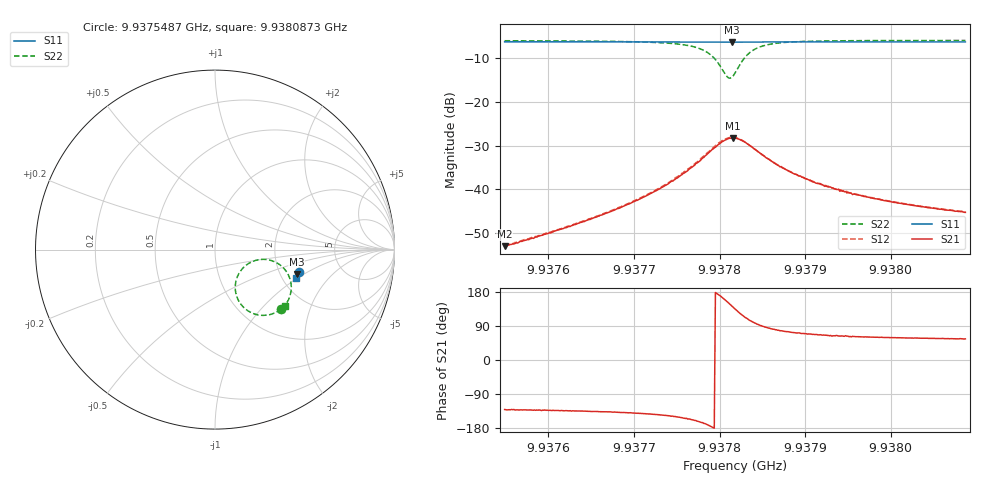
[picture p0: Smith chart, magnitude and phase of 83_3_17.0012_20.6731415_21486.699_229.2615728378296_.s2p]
#  HZ  S  RI  R  50.00
! Rohde & Schwarz Vector Network Analyzer
! Rohde-Schwarz,ZNB20-2Port,1311601062101988,3.16
! Created: UTC 3/20/2024, 10:55:49 PM
! freq[Hz]  re:S11  im:S11  re:S21  im:S21  re:S12  im:S12  re:S22  im:S22
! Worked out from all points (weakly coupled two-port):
!   401 points, 9.9375487 GHz to 9.9380873 GHz, reference 50 ohm
!   highest |S21| = -28.25 dB at 9.9378153 GHz (marker M1); lowest = -52.9 dB at 9.9375487 GHz (marker M2)
!   lowest |S11| = -6.4 dB at 9.937814 GHz (marker M3), VSWR 2.82, Z = 123 - j43.8 ohm
!   |S11| at or under -10 dB: nowhere
!   |S22| runs from -14.6 to -6.0 dB; largest |S21 - S12| = 0.0022
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9.9375487e9  0.4666 -0.1223  -0.00147 -0.00172  -0.00151 -0.00171  0.3694 -0.3301
9.93763891e9  0.4644 -0.1286  -0.00297 -0.00301  -0.00308 -0.00302  0.3514 -0.343
9.93768604e9  0.463 -0.1319  -0.00477 -0.00419  -0.0049 -0.0042  0.3333 -0.3528
9.93772913e9  0.4618 -0.1349  -0.0082 -0.00585  -0.00852 -0.00583  0.3005 -0.3635
9.93776145e9  0.4602 -0.1374  -0.0144 -0.00702  -0.015 -0.00682  0.2461 -0.365
9.9377803e9  0.4589 -0.1386  -0.0221 -0.00575  -0.023 -0.00515  0.1856 -0.3425
9.93779242e9  0.4578 -0.1391  -0.0289 -0.000741  -0.03 0.000263  0.1362 -0.2927
9.93780184e9  0.4569 -0.1388  -0.0335 0.00749  -0.0342 0.00906  0.1127 -0.2169
9.93780858e9  0.4564 -0.1381  -0.0337 0.016  -0.0338 0.018  0.126 -0.1476
9.93781127e9  0.4563 -0.1379  -0.0328 0.0198  -0.0325 0.0218  0.1412 -0.1206
9.93781396e9  0.4564 -0.1377  -0.031 0.0231  -0.0304 0.025  0.1616 -0.097
9.93781531e9  0.4565 -0.1375  -0.0298 0.0247  -0.0291 0.0265  0.1735 -0.087
9.937818e9  0.4566 -0.1374  -0.027 0.0273  -0.0263 0.029  0.1996 -0.0707
9.93782473e9  0.4572 -0.1371  -0.0192 0.0313  -0.0178 0.0325  0.2691 -0.0542
9.93783147e9  0.4582 -0.1372  -0.0117 0.0316  -0.0102 0.0323  0.3287 -0.0663
9.9378382e9  0.4587 -0.1379  -0.00575 0.0298  -0.00466 0.0298  0.3699 -0.0913
9.93784628e9  0.4589 -0.1386  -0.00116 0.0263  -0.000313 0.0264  0.3994 -0.1248
9.93787052e9  0.4593 -0.141  0.004 0.0177  0.00437 0.0179  0.4246 -0.1984
9.93790822e9  0.4586 -0.1442  0.00469 0.0114  0.00503 0.0114  0.4196 -0.2521
9.93795265e9  0.4575 -0.1476  0.00425 0.00805  0.00442 0.00803  0.4092 -0.2803
9.93799844e9  0.4562 -0.1507  0.00375 0.00626  0.00392 0.00629  0.4006 -0.2957
9.93808731e9  0.454 -0.1566  0.00309 0.00453  0.00321 0.00454  0.3888 -0.3127
